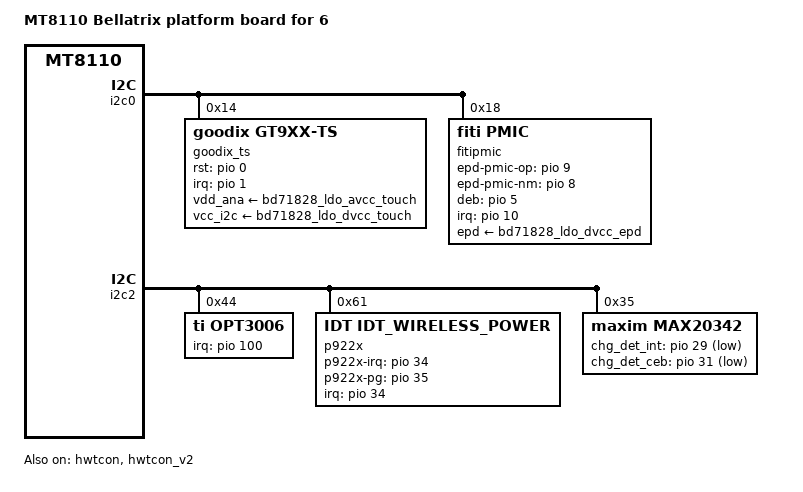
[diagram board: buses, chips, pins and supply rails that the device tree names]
/*
 * Copyright (c) 2020 Amazon.com Inc.
 *
 * SPDX-License-Identifier: (GPL-2.0 OR MIT)
 */

/dts-v1/;
#include "mt8110-bellatrix.dtsi"

/ {
	model = "MT8110 Bellatrix platform board for 6";
};

&i2c0 {
	goodix_ts@14 {
		vdd_ana-supply = <&bd71828_ldo_avcc_touch>;
		vcc_i2c-supply = <&bd71828_ldo_dvcc_touch>;
		compatible = "goodix,gt9xx-ts";
		pinctrl-names = "default";
		pinctrl-0 = <&goodix_ts_pins_default>;
		reg = <0x14>;
		goodix,rst-gpio = <&pio 0 0>;
		goodix,irq-gpio = <&pio 1 0>;
	};

	fitipmic: fiti@18 {
		compatible = "fiti,pmic";
		reg = <0x18>;
		vgh_ext = <0>;
		vgl_ext = <2000>;
		xon_len = <2510>;
		xon_delay = <40>;
		vgh = <25000>;
		vgl = <20000>;
		vcom_setting = <2510>;
		vghnm_setting = <3300>;
		vghnm_ext = <1500>;
		vpos = <15000>;
		vneg = <15000>;
		epd-pmic-en = <&bd71828 1 0>;
		epd-pmic-op = <&pio 9 0>;
		epd-pmic-nm = <&pio 8 0>;
		interrupt-parent = <&pio>;
		interrupts = <10 IRQ_TYPE_LEVEL_HIGH>;
		deb-gpios = <&pio 5 0>;
		debounce = <16>;
		epd-supply = <&bd71828_ldo_dvcc_epd>;
		pinctrl-names = "active", "inactive";
		pinctrl-0 = <&fiti_pins_active>;
		pinctrl-1 = <&fiti_pins_inactive>;
		status = "okay";
	};
};

&i2c2 {
	opt3006@44 {
		compatible = "ti,opt3006";
		pinctrl-names = "default", "sleep";
		pinctrl-0 = <&opt3006_pins_default>;
		pinctrl-1 = <&opt3006_pins_default>;
		reg = <0x44>;
		interrupt-parent = <&pio>;
		interrupts = <100 IRQ_TYPE_EDGE_FALLING>;
	};

	p922x@61 {
		compatible = "IDT,idt_wireless_power";
		reg = <0x61>;
		interrupt-parent = <&pio>;
		interrupts = <34 IRQ_TYPE_EDGE_FALLING 35 IRQ_TYPE_EDGE_RISING>;

		wpc-mivr = <4500000 4500000>;
		wpc-switch-voltage = <4500 5000 5500 8500 9000 9500>;
		bpp-5w-fod = /bits/ 8 <151 47 148 33 149 23 148 21
					148 21 149 21 254 127 0 0>;
		bpp-10w-fod = /bits/ 8 <254 127 254 127 254 127 254 127
					254 127 254 127 254 127 0 0>;

		pinctrl-names = "wpc_en_default", "wpc_en0", "wpc_en1",
					"sleep_en_default", "sleep_en0", "sleep_en1";
		pinctrl-0 = <&wpc_en_default>;
		pinctrl-1 = <&wpc_en0>;
		pinctrl-2 = <&wpc_en1>;
		pinctrl-3 = <&sleep_en_default>;
		pinctrl-4 = <&sleep_en0>;
		pinctrl-5 = <&sleep_en1>;

		p922x-irq = <&pio 34 0>;
		p922x-pg = <&pio 35 0>;

		wpc-hardware-config = <1>;
		status = "okay";
	};

	max20342: max20342@35 {
		compatible = "maxim,max20342";
		interrupt-parent = <&pio>;
		interrupt-controller;
		pinctrl-names = "default";
		pinctrl-0 = <&max20342_chg_det_pins_default>;
		chg_det_int = <&pio 29 GPIO_ACTIVE_LOW>;
		chg_det_ceb = <&pio 31 GPIO_ACTIVE_LOW>;
		reg = <0x35>;
		status = "okay";
	};
};

&hwtcon {
	status = "okay";
	pinctrl-names = "active","inactive";
	pinctrl-0 = <&hwtcon_pins_active>;
	pinctrl-1 = <&hwtcon_pins_inactive>;
	epd{
		panel_dpi_clk = <80000000>;
		panel_width = <1448>;
		panel_height = <1072>;
		panel_area_w = <122>;
		panel_area_h = <91>;
		panel_waveform_type = <4>;
		panel_output_8bit = <1>;
		panel_tcon0 = <6 1078 68 77 0 1 0 0>;
		panel_tcon1 = <6 1078 7 43 0 0 0 0>;
		panel_tcon2 = <6 1080 7 7 4 0 1 7>;
		panel_tcon3 = <1 1081 211 787 0 0 0 0>;
		panel_tcon4 = <0 0 0 0 0 0 0 0>;
		panel_tcon5 = <2 3 512 592 4 1 1 7>;
		panel_dpi = <18 40 12 2 11 4 0>;
		panel_material_type = <4>;
		panel_rotate = <3>;
		modify_wf_mode_counter = <1024>;
		status = "okay";
	};
};

&hwtcon_v2 {
	status = "okay";
	pinctrl-names = "active","inactive";
	pinctrl-0 = <&hwtcon_pins_active>;
	pinctrl-1 = <&hwtcon_pins_inactive>;
	epd{
		panel_dpi_clk = <80000000>;
		panel_width = <1448>;
		panel_height = <1072>;
		panel_area_w = <122>;
		panel_area_h = <91>;
		panel_waveform_type = <4>;
		panel_output_8bit = <1>;
		panel_tcon0 = <6 1078 68 77 0 1 0 0>;
		panel_tcon1 = <6 1078 7 43 0 0 0 0>;
		panel_tcon2 = <6 1080 7 7 4 0 1 7>;
		panel_tcon3 = <1 1081 211 787 0 0 0 0>;
		panel_tcon4 = <1 2 7 7 4 1 1 7>;
		panel_tcon5 = <2 3 512 592 4 1 1 7>;
		panel_dpi = <18 40 12 2 11 4 0>;
		panel_material_type = <4>;
		panel_rotate = <3>;
		modify_wf_mode_counter = <1024>;
		status = "okay";
	};
};

&pio {
	pinctrl-0 = <&unused_pins_default>;

	opt3006_pins_default: opt3006_default {
		pins_cmd_dat {
			pinmux = <MT8512_PIN_100_DMIC0_DAT0__FUNC_GPIO100>;
			input-enable;
			bias-disable;
		};
	};

	goodix_ts_pins_default: goodix_ts_pins_default {
		pins_cmd_dat {
			pinmux = <MT8512_PIN_26_USB_ID__FUNC_GPIO26>,
				<MT8512_PIN_27_USB_DRV__FUNC_GPIO27>,
				<MT8512_PIN_114_SPI_MISO__FUNC_GPIO114>;
			slew-rate = <0>;
			input-disable;
			bias-disable;
		};
		pins_cmd_dat_1 {
			pinmux = <MT8512_PIN_1_GPIO1__FUNC_GPIO1>;
			slew-rate = <0>;
			bias-disable;
		};
	};

	i2c2_pins: i2c2 {
		pins_bus {
			pinmux = <MT8512_PIN_68_SDA2__FUNC_SDA2_0>,
				 <MT8512_PIN_69_SCL2__FUNC_SCL2_0>;
			input-enable;
			bias-pull-up;
		};
	};

	i2c2_pins_sleep: i2c2_sleep {
		pins_bus {
			pinmux = <MT8512_PIN_68_SDA2__FUNC_GPIO68>,
				 <MT8512_PIN_69_SCL2__FUNC_GPIO69>;
			input-disable;
			bias-disable;
		};
	};

	unused_pins_default: unusedpindefault {
		pins_cmd_dat1 {
			pinmux = <MT8512_PIN_14_GPIO14__FUNC_GPIO14>,
				 <MT8512_PIN_15_GPIO15__FUNC_GPIO15>,
				 <MT8512_PIN_16_GPIO16__FUNC_GPIO16>,
				 <MT8512_PIN_17_GPIO17__FUNC_GPIO17>,
				 <MT8512_PIN_30_CHG_OTG__FUNC_GPIO30>,
				 <MT8512_PIN_112_SPI_CSB__FUNC_GPIO112>,
				 <MT8512_PIN_113_SPI_CLK__FUNC_GPIO113>;
			input-disable;
			bias-disable;
		};
		pins_cmd_dat2 {
			pinmux = <MT8512_PIN_28_EINT_GAUGEING__FUNC_GPIO28>,
				<MT8512_PIN_115_SPI_MOSI__FUNC_GPIO115>;
			input-disable;
			bias-pull-up;
		};
	};

	wpc_en_default: wpc_en_default {
		pins_cmd_dat {
			pinmux = <MT8512_PIN_34_SOC2WAN_RESET__FUNC_GPIO34>;
			input-enable;
			bias-pull-up;
		};
	};

	wpc_en0: wpc_en0 {
		pins_cmd_dat {
			pinmux = <MT8512_PIN_34_SOC2WAN_RESET__FUNC_GPIO34>;
			input-enable;
			bias-pull-up;
		};
	};

	wpc_en1: wpc_en1 {
		pins_cmd_dat {
			pinmux = <MT8512_PIN_34_SOC2WAN_RESET__FUNC_GPIO34>;
			input-enable;
			bias-pull-up;
		};
	};

	sleep_en_default: sleep_en_default {
		pins_cmd_dat {
			pinmux = <MT8512_PIN_35_WAN_FM_RDY__FUNC_GPIO35>;
			input-enable;
			bias-pull-down;
		};
	};

	sleep_en0: sleep_en0 {
		pins_cmd_dat {
			pinmux = <MT8512_PIN_35_WAN_FM_RDY__FUNC_GPIO35>;
			input-enable;
			bias-pull-down;
		};
	};

	sleep_en1: sleep_en1 {
		pins_cmd_dat {
			pinmux = <MT8512_PIN_35_WAN_FM_RDY__FUNC_GPIO35>;
			input-enable;
			bias-pull-down;
		};
	};

	max20342_chg_det_pins_default: max20342_chg_det_pins_default {
		pins_cmd_dat {
			pinmux = <MT8512_PIN_29_CHG_IRQ__FUNC_GPIO29>,
					<MT8512_PIN_31_CHG_CEB__FUNC_GPIO31>;
			input-enable;
			bias-disable;
		};
	};
};
